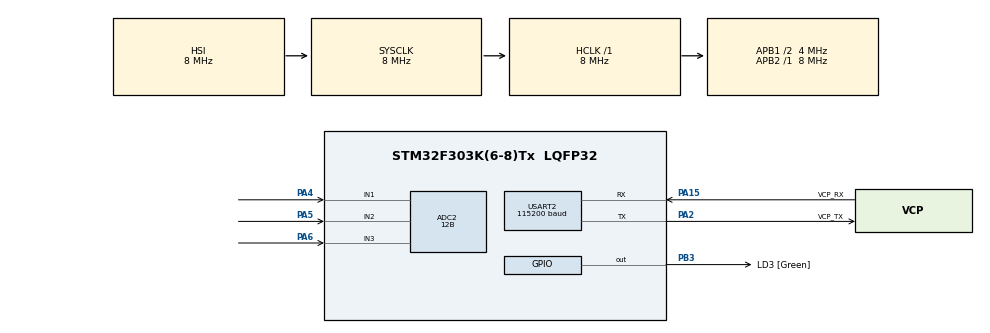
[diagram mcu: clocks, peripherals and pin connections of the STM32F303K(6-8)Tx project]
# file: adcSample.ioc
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ADC2.Channel-5\#ChannelRegularConversion=ADC_CHANNEL_1
ADC2.Channel-6\#ChannelRegularConversion=ADC_CHANNEL_2
ADC2.Channel-8\#ChannelRegularConversion=ADC_CHANNEL_3
ADC2.ClockPrescaler=ADC_CLOCK_SYNC_PCLK_DIV4
ADC2.ContinuousConvMode=ENABLE
ADC2.DMAContinuousRequests=ENABLE
ADC2.DataAlign=ADC_DATAALIGN_RIGHT
ADC2.EnableInjectedConversion=DISABLE
ADC2.EnableRegularConversion=ENABLE
ADC2.NbrOfConversion=3
ADC2.NbrOfConversionFlag=1
ADC2.Offset-5\#ChannelRegularConversion=0
ADC2.Offset-6\#ChannelRegularConversion=0
ADC2.Offset-8\#ChannelRegularConversion=0
ADC2.OffsetNumber-5\#ChannelRegularConversion=ADC_OFFSET_NONE
ADC2.OffsetNumber-6\#ChannelRegularConversion=ADC_OFFSET_NONE
ADC2.OffsetNumber-8\#ChannelRegularConversion=ADC_OFFSET_NONE
ADC2.Overrun=ADC_OVR_DATA_PRESERVED
ADC2.Rank-5\#ChannelRegularConversion=1
ADC2.Rank-6\#ChannelRegularConversion=2
ADC2.Rank-8\#ChannelRegularConversion=3
ADC2.Resolution=ADC_RESOLUTION_12B
ADC2.SamplingTime-5\#ChannelRegularConversion=ADC_SAMPLETIME_19CYCLES_5
ADC2.SamplingTime-6\#ChannelRegularConversion=ADC_SAMPLETIME_19CYCLES_5
ADC2.SamplingTime-8\#ChannelRegularConversion=ADC_SAMPLETIME_19CYCLES_5
ADC2.SubFamily=STM32F303x8
Dma.ADC2.0.Direction=DMA_PERIPH_TO_MEMORY
Dma.ADC2.0.Instance=DMA1_Channel2
Dma.ADC2.0.MemDataAlignment=DMA_MDATAALIGN_HALFWORD
Dma.ADC2.0.MemInc=DMA_MINC_ENABLE
Dma.ADC2.0.Mode=DMA_CIRCULAR
Dma.ADC2.0.PeriphDataAlignment=DMA_PDATAALIGN_HALFWORD
Dma.ADC2.0.PeriphInc=DMA_PINC_DISABLE
Dma.ADC2.0.Priority=DMA_PRIORITY_MEDIUM
Dma.Request0=ADC2
Mcu.Family=STM32F3
Mcu.Name=STM32F303K(6-8)Tx
Mcu.Package=LQFP32
NVIC.DMA1_Channel2_IRQn=true\:0\:0\:false\:false\:true\:false\:true
NVIC.PriorityGroup=NVIC_PRIORITYGROUP_4
PA13.GPIO_Label=SWDIO
PA13.Mode=Serial_Wire
PA13.Signal=SYS_JTMS-SWDIO
PA14.GPIO_Label=SWCLK
PA14.Mode=Serial_Wire
PA14.Signal=SYS_JTCK-SWCLK
PA15.GPIO_Label=VCP_RX
PA15.Mode=Asynchronous
PA15.Signal=USART2_RX
PA2.GPIO_Label=VCP_TX
PA2.Mode=Asynchronous
PA2.Signal=USART2_TX
PA4.Mode=IN1-Single-Ended
PA4.Signal=ADC2_IN1
PA5.Mode=IN2-Single-Ended
PA5.Signal=ADC2_IN2
PA6.Mode=IN3-Single-Ended
PA6.Signal=ADC2_IN3
PB3.GPIO_Label=LD3 [Green]
PB3.Signal=GPIO_Output
PF0\ /\ OSC_IN.GPIO_Label=MCO
PF0\ /\ OSC_IN.Mode=HSE-External-Clock-Source
PF0\ /\ OSC_IN.Signal=RCC_OSC_IN
ProjectManager.HeapSize=0x200
ProjectManager.StackSize=0x400
ProjectManager.TargetToolchain=STM32CubeIDE
RCC.AHBFreq_Value=8000000
RCC.APB1CLKDivider=RCC_HCLK_DIV2
RCC.APB1Freq_Value=4000000
RCC.APB1TimFreq_Value=8000000
RCC.APB2Freq_Value=8000000
RCC.APB2TimFreq_Value=8000000
RCC.CortexFreq_Value=8000000
RCC.HCLKFreq_Value=8000000
RCC.HSE_VALUE=8000000
RCC.HSI_VALUE=8000000
RCC.PLLMUL=RCC_PLL_MUL9
RCC.PLLSourceVirtual=RCC_PLLSOURCE_HSE
RCC.SYSCLKFreq_VALUE=8000000
USART2.BaudRate=115200
USART2.VirtualMode-Asynchronous=VM_ASYNC
board=NUCLEO-F303K8

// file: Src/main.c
/* USER CODE BEGIN Header */
/**
 ******************************************************************************
 * @file           : main.c
 * @brief          : Main program body
 ******************************************************************************
 * @attention
 *
 * <h2><center>&copy; Copyright (c) 2019 STMicroelectronics.
 * All rights reserved.</center></h2>
 *
 * This software component is licensed by ST under BSD 3-Clause license,
 * the "License"; You may not use this file except in compliance with the
 * License. You may obtain a copy of the License at:
 *                        opensource.org/licenses/BSD-3-Clause
 *
 ******************************************************************************
 */
/* USER CODE END Header */

#include "main.h"

ADC_HandleTypeDef hadc2;
DMA_HandleTypeDef hdma_adc2;

UART_HandleTypeDef huart2;

/* USER CODE BEGIN PV */

#define ADC_CONVERTED_DATA_BUFFER_SIZE   ((uint16_t)  3)
ADC_ChannelConfTypeDef sConfig = { 0 };
/* USER CODE END PV */

void SystemClock_Config(void);
static void MX_GPIO_Init(void);
static void MX_DMA_Init(void);
static void MX_USART2_UART_Init(void);
static void MX_ADC2_Init(void);

/* USER CODE BEGIN 0 */

static uint16_t aADCxConvertedData[ADC_CONVERTED_DATA_BUFFER_SIZE];
/* USER CODE END 0 */

int main(void)
{

  /* MCU Configuration--------------------------------------------------------*/

  /* Reset of all peripherals, Initializes the Flash interface and the Systick. */
  HAL_Init();

  /* Configure the system clock */
  SystemClock_Config();

  /* Initialize all configured peripherals */
  MX_GPIO_Init();
  MX_DMA_Init();
  MX_USART2_UART_Init();
  MX_ADC2_Init();
  /* USER CODE BEGIN 2 */
	if (HAL_ADC_Init(&hadc2) != HAL_OK) {
		Error_Handler();
	}
	if (HAL_ADCEx_Calibration_Start(&hadc2, ADC_SINGLE_ENDED) != HAL_OK) {
		Error_Handler();
	}
	if (HAL_ADC_ConfigChannel(&hadc2, &sConfig) != HAL_OK) {
		Error_Handler();
	}

	/* ### - 4 - Start conversion in DMA mode ################################# */
	if (HAL_ADC_Start_DMA(&hadc2, (uint32_t *) aADCxConvertedData,
	ADC_CONVERTED_DATA_BUFFER_SIZE) != HAL_OK) {
		Error_Handler();
	}
  /* USER CODE END 2 */

  /* Infinite loop */
	while (1) {

    /* USER CODE BEGIN 3 */
		char transmit_data[100];
		sprintf(transmit_data, "%d,%d,%d\n", aADCxConvertedData[0],
				aADCxConvertedData[1], aADCxConvertedData[2]);
		for (int i = 0; i < sizeof(transmit_data); ++i) {
			if (transmit_data[i] == '\n') {
				HAL_UART_Transmit(&huart2, (uint8_t *) transmit_data, i + 1, 20);
				break;
			}
		}
		HAL_Delay(10);
	}
  /* USER CODE END 3 */
}

void SystemClock_Config(void)
{
  RCC_OscInitTypeDef RCC_OscInitStruct = {0};
  RCC_ClkInitTypeDef RCC_ClkInitStruct = {0};

  /** Initializes the CPU, AHB and APB busses clocks
  */
  RCC_OscInitStruct.OscillatorType = RCC_OSCILLATORTYPE_HSI;
  RCC_OscInitStruct.HSIState = RCC_HSI_ON;
  RCC_OscInitStruct.HSICalibrationValue = RCC_HSICALIBRATION_DEFAULT;
  RCC_OscInitStruct.PLL.PLLState = RCC_PLL_NONE;
  if (HAL_RCC_OscConfig(&RCC_OscInitStruct) != HAL_OK)
  {
    Error_Handler();
  }
  /** Initializes the CPU, AHB and APB busses clocks
  */
  RCC_ClkInitStruct.ClockType = RCC_CLOCKTYPE_HCLK|RCC_CLOCKTYPE_SYSCLK
                              |RCC_CLOCKTYPE_PCLK1|RCC_CLOCKTYPE_PCLK2;
  RCC_ClkInitStruct.SYSCLKSource = RCC_SYSCLKSOURCE_HSI;
  RCC_ClkInitStruct.AHBCLKDivider = RCC_SYSCLK_DIV1;
  RCC_ClkInitStruct.APB1CLKDivider = RCC_HCLK_DIV2;
  RCC_ClkInitStruct.APB2CLKDivider = RCC_HCLK_DIV1;

  if (HAL_RCC_ClockConfig(&RCC_ClkInitStruct, FLASH_LATENCY_0) != HAL_OK)
  {
    Error_Handler();
  }
}

static void MX_ADC2_Init(void)
{

  /** Common config
  */
  hadc2.Instance = ADC2;
  hadc2.Init.ClockPrescaler = ADC_CLOCK_SYNC_PCLK_DIV4;
  hadc2.Init.Resolution = ADC_RESOLUTION_12B;
  hadc2.Init.ScanConvMode = ADC_SCAN_ENABLE;
  hadc2.Init.ContinuousConvMode = ENABLE;
  hadc2.Init.DiscontinuousConvMode = DISABLE;
  hadc2.Init.ExternalTrigConvEdge = ADC_EXTERNALTRIGCONVEDGE_NONE;
  hadc2.Init.ExternalTrigConv = ADC_SOFTWARE_START;
  hadc2.Init.DataAlign = ADC_DATAALIGN_RIGHT;
  hadc2.Init.NbrOfConversion = 3;
  hadc2.Init.DMAContinuousRequests = ENABLE;
  hadc2.Init.EOCSelection = ADC_EOC_SINGLE_CONV;
  hadc2.Init.LowPowerAutoWait = DISABLE;
  hadc2.Init.Overrun = ADC_OVR_DATA_PRESERVED;
  if (HAL_ADC_Init(&hadc2) != HAL_OK)
  {
    Error_Handler();
  }
  /** Configure Regular Channel
  */
  sConfig.Channel = ADC_CHANNEL_1;
  sConfig.Rank = ADC_REGULAR_RANK_1;
  sConfig.SingleDiff = ADC_SINGLE_ENDED;
  sConfig.SamplingTime = ADC_SAMPLETIME_19CYCLES_5;
  sConfig.OffsetNumber = ADC_OFFSET_NONE;
  sConfig.Offset = 0;
  if (HAL_ADC_ConfigChannel(&hadc2, &sConfig) != HAL_OK)
  {
    Error_Handler();
  }
  /** Configure Regular Channel
  */
  sConfig.Channel = ADC_CHANNEL_2;
  sConfig.Rank = ADC_REGULAR_RANK_2;
  if (HAL_ADC_ConfigChannel(&hadc2, &sConfig) != HAL_OK)
  {
    Error_Handler();
  }
  /** Configure Regular Channel
  */
  sConfig.Channel = ADC_CHANNEL_3;
  sConfig.Rank = ADC_REGULAR_RANK_3;
  if (HAL_ADC_ConfigChannel(&hadc2, &sConfig) != HAL_OK)
  {
    Error_Handler();
  }

}

static void MX_USART2_UART_Init(void)
{

  huart2.Instance = USART2;
  huart2.Init.BaudRate = 115200;
  huart2.Init.WordLength = UART_WORDLENGTH_8B;
  huart2.Init.StopBits = UART_STOPBITS_1;
  huart2.Init.Parity = UART_PARITY_NONE;
  huart2.Init.Mode = UART_MODE_TX_RX;
  huart2.Init.HwFlowCtl = UART_HWCONTROL_NONE;
  huart2.Init.OverSampling = UART_OVERSAMPLING_16;
  huart2.Init.OneBitSampling = UART_ONE_BIT_SAMPLE_DISABLE;
  huart2.AdvancedInit.AdvFeatureInit = UART_ADVFEATURE_NO_INIT;
  if (HAL_UART_Init(&huart2) != HAL_OK)
  {
    Error_Handler();
  }

}

static void MX_DMA_Init(void)
{
  /* DMA controller clock enable */
  __HAL_RCC_DMA1_CLK_ENABLE();

  /* DMA interrupt init */
  /* DMA1_Channel2_IRQn interrupt configuration */
  HAL_NVIC_SetPriority(DMA1_Channel2_IRQn, 0, 0);
  HAL_NVIC_EnableIRQ(DMA1_Channel2_IRQn);

}

static void MX_GPIO_Init(void)
{
  GPIO_InitTypeDef GPIO_InitStruct = {0};

  /* GPIO Ports Clock Enable */
  __HAL_RCC_GPIOF_CLK_ENABLE();
  __HAL_RCC_GPIOA_CLK_ENABLE();
  __HAL_RCC_GPIOB_CLK_ENABLE();

  /*Configure GPIO pin Output Level */
  HAL_GPIO_WritePin(LD3_GPIO_Port, LD3_Pin, GPIO_PIN_RESET);

  /*Configure GPIO pin : LD3_Pin */
  GPIO_InitStruct.Pin = LD3_Pin;
  GPIO_InitStruct.Mode = GPIO_MODE_OUTPUT_PP;
  GPIO_InitStruct.Pull = GPIO_NOPULL;
  GPIO_InitStruct.Speed = GPIO_SPEED_FREQ_LOW;
  HAL_GPIO_Init(LD3_GPIO_Port, &GPIO_InitStruct);

}

void Error_Handler(void)
{
}

/************************ (C) COPYRIGHT STMicroelectronics *****END OF FILE****/
